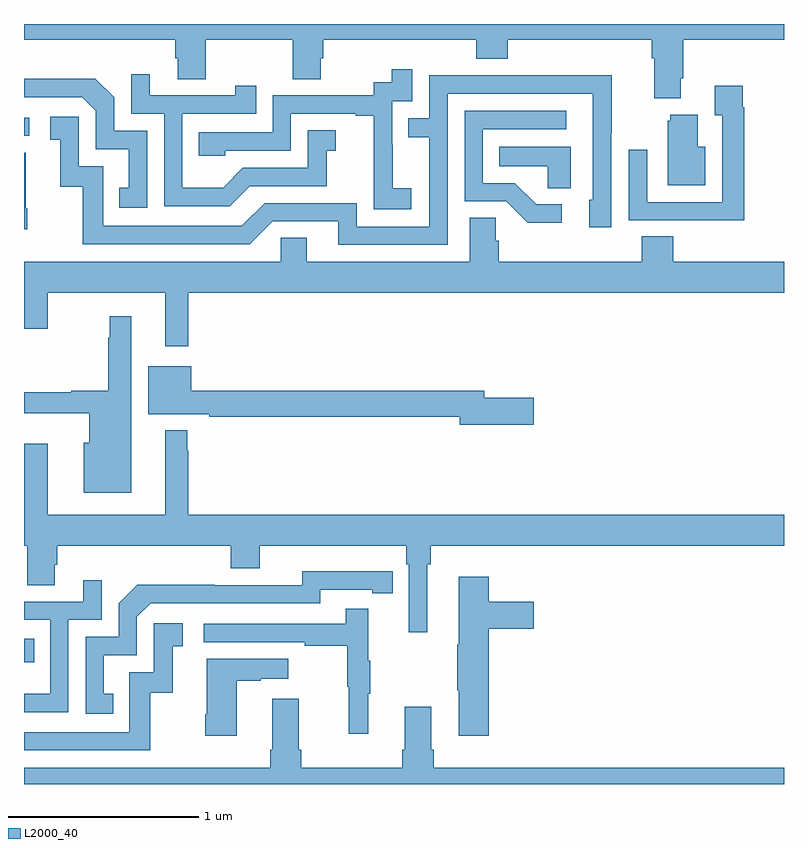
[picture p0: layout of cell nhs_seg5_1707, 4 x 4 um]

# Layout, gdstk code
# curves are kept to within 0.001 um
import gdstk
lib = gdstk.Library(unit=1e-6, precision=1e-09)
def R(c, l, rs):  # rectangles x0, y0, x1, y1
    for r in rs: c.add(gdstk.rectangle(r[:2], r[2:], *l))
def P(c, l, *ps):  # polygons
    for p in ps: c.add(gdstk.Polygon(p, *l))
L2000_40 = (2000, 40)

nhs_seg5_1707 = lib.new_cell('nhs_seg5_1707')
R(nhs_seg5_1707, L2000_40, [(213,897.441,213.053,897.564), (213,900.21,213.028,900.306)])
P(nhs_seg5_1707, L2000_40, [(213,900.716),(213.797,900.716),(213.797,900.618),(213.809,900.618),(213.809,900.508),(213.957,900.508),(213.957,900.716),(214.414,900.716),(214.414,900.508),(214.561,900.508),(214.561,900.618),(214.574,900.618),(214.574,900.716),(215.381,900.716),(215.381,900.617),(215.546,900.617),(215.546,900.716),(216.305,900.716),(216.305,900.62),(216.317,900.62),(216.317,900.407),(216.457,900.407),(216.457,900.514),(216.47,900.514),(216.47,900.716),(217,900.716),(217,900.799),(213,900.799)],
  [(215.038,899.935),(214.94,899.935),(214.94,900.164),(214.938,900.164),(214.938,900.393),(215.043,900.393),(215.043,900.562),(214.935,900.562),(214.935,900.492),(214.842,900.492),(214.842,900.423),(214.308,900.423),(214.308,900.228),(213.919,900.228),(213.919,900.105),(214.059,900.105),(214.059,900.132),(214.404,900.132),(214.404,900.327),(214.745,900.327),(214.745,900.315),(214.841,900.315),(214.841,900.031),(214.84,900.031),(214.84,899.825),(215.038,899.825)],
  [(214.189,899.946),(214.593,899.946),(214.593,900.131),(214.642,900.131),(214.642,900.241),(214.494,900.241),(214.494,900.042),(214.152,900.042),(214.048,899.938),(213.834,899.938),(213.834,900.327),(214.223,900.327),(214.223,900.475),(214.112,900.475),(214.112,900.423),(213.661,900.423),(213.661,900.535),(213.564,900.535),(213.564,900.327),(213.738,900.327),(213.738,899.841),(214.084,899.841)],
  [(215.229,900.432),(215.994,900.432),(215.994,899.874),(215.975,899.874),(215.975,899.73),(216.09,899.73),(216.09,900.223),(216.093,900.223),(216.093,900.53),(215.629,900.53),(215.629,900.528),(215.133,900.528),(215.133,900.303),(215.023,900.303),(215.023,900.202),(215.133,900.202),(215.133,899.733),(214.752,899.733),(214.752,899.856),(214.266,899.856),(214.146,899.736),(213.417,899.736),(213.417,900.051),(213.288,900.051),(213.288,900.31),(213.138,900.31),(213.138,900.189),(213.191,900.189),(213.191,899.943),(213.309,899.943),(213.309,899.64),(214.188,899.64),(214.308,899.76),(214.655,899.76),(214.655,899.637),(215.229,899.637)],
  [(213.648,900.237),(213.474,900.237),(213.474,900.414),(213.376,900.512),(213,900.512),(213,900.414),(213.306,900.414),(213.378,900.342),(213.378,900.141),(213.551,900.141),(213.551,899.937),(213.502,899.937),(213.502,899.832),(213.648,899.832)],
  [(216.791,900.362),(216.784,900.362),(216.784,900.475),(216.635,900.475),(216.635,900.319),(216.675,900.319),(216.675,899.862),(216.279,899.862),(216.279,900.136),(216.183,900.136),(216.183,899.766),(216.499,899.766),(216.499,899.765),(216.791,899.765)],
  [(215.83,899.85),(215.695,899.85),(215.584,899.961),(215.415,899.961),(215.415,900.246),(215.854,900.246),(215.854,900.342),(215.319,900.342),(215.319,899.865),(215.538,899.865),(215.651,899.753),(215.83,899.753)],
  [(216.586,900.154),(216.547,900.154),(216.547,900.322),(216.401,900.322),(216.401,900.291),(216.389,900.291),(216.389,899.951),(216.586,899.951)],
  [(215.878,900.154),(215.5,900.154),(215.5,900.05),(215.757,900.05),(215.757,899.935),(215.878,899.935)],
  [(213.018,899.83),(213.01,899.83),(213.01,900.121),(213,900.121),(213,899.718),(213.018,899.718)],
  [(213.865,899.384),(217,899.384),(217,899.548),(216.416,899.548),(216.416,899.681),(216.251,899.681),(216.251,899.548),(215.498,899.548),(215.498,899.657),(215.484,899.657),(215.484,899.78),(215.345,899.78),(215.345,899.548),(214.489,899.548),(214.489,899.675),(214.35,899.675),(214.35,899.548),(213,899.548),(213,899.196),(213.124,899.196),(213.124,899.384),(213.743,899.384),(213.743,899.103),(213.865,899.103)],
  [(213.565,899.26),(213.451,899.26),(213.451,899.147),(213.444,899.147),(213.444,898.868),(213.248,898.868),(213.248,898.861),(213,898.861),(213,898.751),(213.344,898.751),(213.344,898.594),(213.314,898.594),(213.314,898.331),(213.565,898.331)],
  [(215.683,898.832),(215.422,898.832),(215.422,898.868),(213.88,898.868),(213.88,898.999),(213.653,898.999),(213.653,898.745),(213.976,898.745),(213.976,898.732),(215.294,898.732),(215.294,898.69),(215.683,898.69)],
  [(215.122,897.956),(215.141,897.956),(215.141,898.052),(217,898.052),(217,898.216),(213.865,898.216),(213.865,898.553),(213.858,898.553),(213.858,898.66),(213.743,898.66),(213.743,898.216),(213.124,898.216),(213.124,898.591),(213,898.591),(213,898.052),(213.016,898.052),(213.016,897.844),(213.163,897.844),(213.163,897.954),(213.176,897.954),(213.176,898.052),(214.088,898.052),(214.088,897.935),(214.24,897.935),(214.24,898.052),(215.012,898.052),(215.012,897.956),(215.025,897.956),(215.025,897.597),(215.122,897.597)],
  [(213.47,897.273),(213.421,897.273),(213.421,897.477),(213.594,897.477),(213.594,897.678),(213.666,897.75),(214.56,897.75),(214.56,897.822),(214.832,897.822),(214.832,897.802),(214.94,897.802),(214.94,897.918),(214.464,897.919),(214.464,897.846),(214.004,897.846),(214.004,897.848),(213.596,897.848),(213.498,897.75),(213.498,897.573),(213.324,897.573),(213.324,897.168),(213.47,897.168)],
  [(215.447,897.617),(215.683,897.617),(215.683,897.759),(215.447,897.759),(215.447,897.889),(215.288,897.889),(215.288,897.533),(215.281,897.533),(215.281,897.292),(215.288,897.292),(215.288,897.054),(215.447,897.054)],
  [(213.234,897.663),(213.408,897.663),(213.408,897.871),(213.311,897.871),(213.311,897.759),(213,897.759),(213,897.663),(213.138,897.663),(213.138,897.274),(213,897.274),(213,897.177),(213.234,897.177)],
  [(214.811,897.275),(214.822,897.275),(214.822,897.449),(214.811,897.449),(214.811,897.721),(214.693,897.721),(214.693,897.642),(213.945,897.642),(213.945,897.546),(214.477,897.546),(214.477,897.526),(214.701,897.526),(214.701,897.312),(214.708,897.312),(214.708,897.063),(214.811,897.063)],
  [(213.664,897.279),(213.782,897.279),(213.782,897.525),(213.835,897.525),(213.835,897.646),(213.684,897.646),(213.684,897.387),(213.555,897.387),(213.555,897.072),(213,897.072),(213,896.976),(213.664,896.976)],
  [(214.12,897.343),(214.247,897.343),(214.247,897.353),(214.39,897.353),(214.39,897.457),(213.962,897.457),(213.962,897.166),(213.955,897.166),(213.955,897.054),(214.12,897.054)],
  [(217,896.884),(215.156,896.884),(215.156,896.98),(215.143,896.98),(215.143,897.205),(215.003,897.205),(215.003,896.98),(214.991,896.98),(214.991,896.884),(214.46,896.884),(214.46,896.98),(214.447,896.98),(214.447,897.247),(214.307,897.247),(214.307,896.98),(214.295,896.98),(214.295,896.884),(213,896.884),(213,896.799),(217,896.799)])

lib.write_gds('nhs_seg5_1707.gds')
